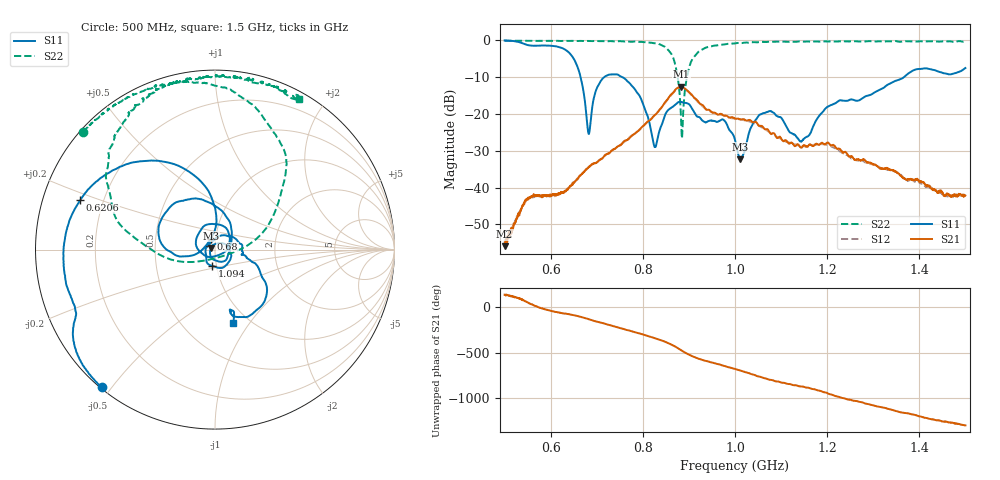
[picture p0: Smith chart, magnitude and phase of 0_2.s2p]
!Agilent Technologies,E8364B,US42250235,A.06.04.32
!Agilent E8364B: A.06.04.32
!Date: Friday, January 15, 2021 14:16:25
!Correction: S11(Full 2 Port(1,2)) S21(Full 2 Port(1,2)) S12(Full 2 Port(1,2)) S22(Full 2 Port(1,2))
!S2P File: Measurements: S11, S21, S12, S22:
# Hz S  dB  R 50
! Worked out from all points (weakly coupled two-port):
!   1601 points, 500 MHz to 1.5 GHz, reference 50 ohm
!   highest |S21| = -12.62 dB at 883.1 MHz (marker M1); lowest = -55.9 dB at 500 MHz (marker M2)
!   lowest |S11| = -32.3 dB at 1.011 GHz (marker M3), VSWR 1.05, Z = 47.8 + j0.89 ohm
!   |S11| at or under -10 dB: 664.9 MHz to 716.1 MHz (51.22 MHz wide, 7.42 % of centre); 755.2 MHz to 1.367 GHz (611.5 MHz wide, 57.6 % of centre)
!   |S22| runs from -26.6 to -0.1 dB; largest |S21 - S12| = 0.017
!   S11 on the Smith chart (normalised r, x): 500 MHz: 0.00, -0.47; 620.6 MHz: 0.11, +0.18; 680 MHz: 0.95, +0.12; 1.094 GHz: 0.96, -0.18; 1.5 GHz: 0.84, -0.84
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5e8  -0.05 -129.4  -55.89 133.6  -55.35 131.5  -0.14 138.2
5.4875e8  -1.26 -154.0  -43.12 52.2  -42.86 47.8  -0.15 133.7
6.20625e8  -1.94 159.9  -41.40 -63.8  -41.69 -65.8  -0.19 126.7
6.45625e8  -4.19 126.6  -39.40 -85.2  -39.12 -88.5  -0.17 123.9
6.66875e8  -11.10 93.1  -36.42 -111.3  -36.28 -115.5  -0.17 121.1
6.8e8  -23.65 111.0  -34.79 -129.9  -34.83 -133.9  -0.18 119.8
7.0625e8  -11.62 -178.9  -32.47 -168.7  -32.53 -172.2  -0.25 116.9
7.43125e8  -9.25 134.0  -29.07 139.7  -29.06 135.7  -0.30 110.3
7.95e8  -15.58 58.8  -23.99 66.6  -24.00 62.3  -0.44 100.5
8.24375e8  -28.55 -52.2  -20.48 20.5  -20.51 16.8  -0.80 89.3
8.3375e8  -25.56 -127.9  -19.25 5.8  -19.27 1.5  -0.97 84.2
8.66875e8  -17.88 135.4  -14.03 -64.6  -14.12 -68.6  -5.08 45.9
8.83125e8  -16.73 103.4  -12.62 -114.1  -12.81 -117.4  -21.96 -18.6
9.11875e8  -19.61 38.2  -15.64 171.8  -15.66 167.7  -4.38 159.4
1e9  -27.06 -124.2  -21.25 40.7  -21.29 37.4  -0.84 119.7
1.01125e9  -32.30 157.4  -21.50 24.6  -21.46 20.9  -0.78 118.0
1.05125e9  -20.49 -17.8  -23.10 -40.9  -23.12 -43.8  -0.50 110.7
1.09375e9  -20.72 -99.0  -26.45 -95.4  -26.49 -101.4  -0.36 105.2
1.14125e9  -27.46 145.6  -28.96 -149.2  -28.73 -152.8  -0.32 99.3
1.166875e9  -24.20 88.3  -28.61 -176.6  -28.57 180.0  -0.38 96.4
1.33375e9  -11.90 -21.1  -35.06 -37.7  -35.18 -40.7  -0.27 78.7
1.5e9  -7.53 -76.2  -42.14 144.8  -42.26 134.5  -0.33 60.9
